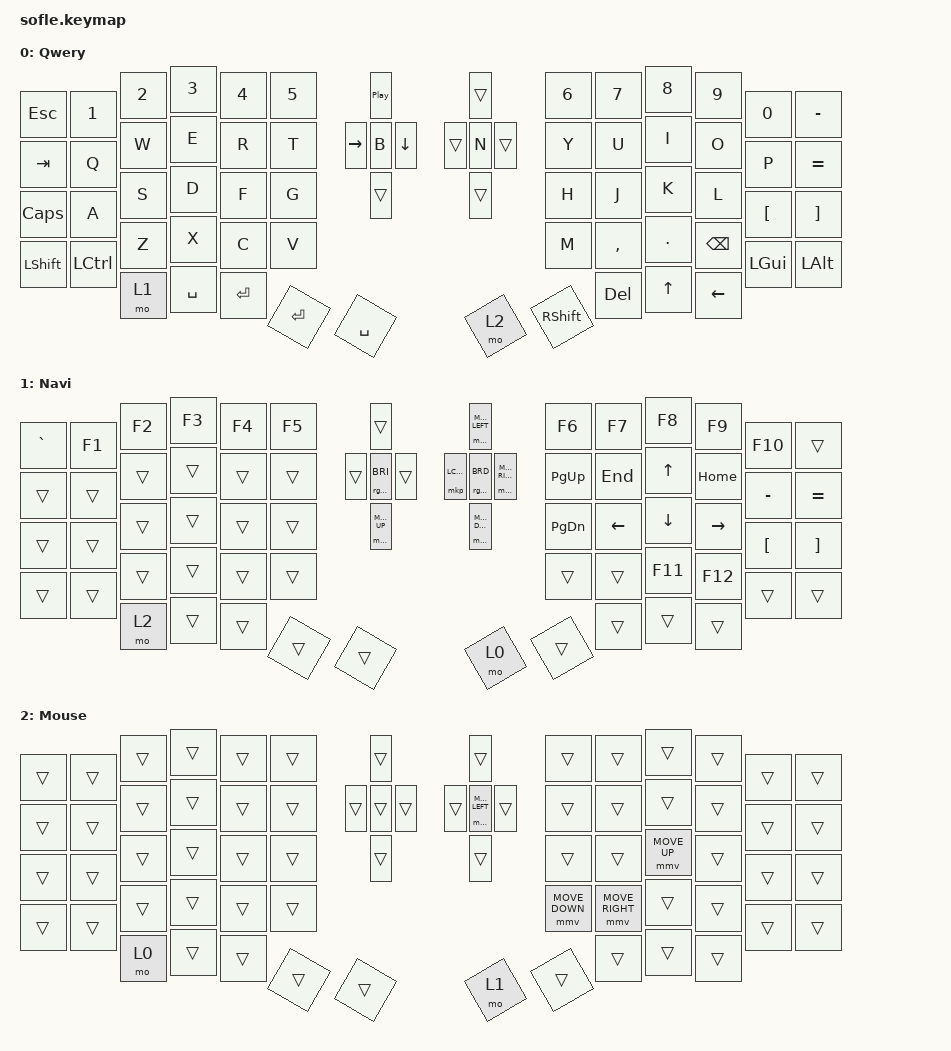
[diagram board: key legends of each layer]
#define ZMK_POINTING_DEFAULT_MOVE_VAL 1200  // 600
#define ZMK_POINTING_DEFAULT_SCRL_VAL 25   // 10

#include <input/processors.dtsi>
#include <zephyr/dt-bindings/input/input-event-codes.h>
#include <behaviors.dtsi>
#include <dt-bindings/zmk/bt.h>
#include <dt-bindings/zmk/ext_power.h>
#include <dt-bindings/zmk/keys.h>
#include <dt-bindings/zmk/pointing.h>
#include <dt-bindings/zmk/rgb.h>

&mmv_input_listener { input-processors = <&zip_xy_scaler 2 1>; };

&msc_input_listener { input-processors = <&zip_scroll_scaler 2 1>; };

&msc {
    acceleration-exponent = <1>;      // 0
    time-to-max-speed-ms = <100>;       // 300
    delay-ms = <0>;                   // 0
};

&mmv {
    time-to-max-speed-ms = <500>;
    acceleration-exponent = <1>;
    trigger-period-ms = <16>;
};

/ {

    keymap {
        compatible = "zmk,keymap";

        Qwery {
            bindings = <
&kp ESCAPE          &kp N1              &kp N2              &kp N3          &kp N4      &kp N5                  &kp NUMBER_6        &kp NUMBER_7    &kp NUMBER_8  &kp NUMBER_9      &kp NUMBER_0    &kp MINUS
&kp TAB             &kp Q               &kp W               &kp E           &kp R       &kp T                   &kp Y               &kp U           &kp I         &kp O             &kp P           &kp EQUAL
&kp CAPSLOCK        &kp A               &kp S               &kp D           &kp F       &kp G                   &kp H               &kp J           &kp K         &kp L             &kp LBKT        &kp RBKT
&kp LSHFT           &kp LCTRL           &kp Z               &kp X           &kp C       &kp V                   &kp B               &kp N           &kp M         &kp COMMA         &kp PERIOD      &kp BACKSPACE
                    &kp LEFT_GUI        &kp LEFT_ALT        &mo 1           &kp SPACE   &kp ENTER               &kp ENTER           &kp SPACE       &mo 2         &kp RSHIFT        &kp DELETE
                    &kp UP_ARROW  &kp LEFT_ARROW   &kp C_PLAY_PAUSE   &kp RIGHT_ARROW   &kp DOWN_ARROW    &trans              &trans              &trans          &trans      &trans
            >;

            display-name = "Qwery";
        };

        Navi {
            bindings = <
&kp GRAVE           &kp F1              &kp F2              &kp F3          &kp F4      &kp F5                  &kp F6              &kp F7          &kp F8         &kp F9           &kp F10             &trans
&trans              &trans              &trans              &trans          &trans      &trans                  &kp PG_UP           &kp END         &kp UP         &kp HOME         &kp MINUS           &kp EQUAL
&trans              &trans              &trans              &trans          &trans      &trans                  &kp PG_DN           &kp LEFT        &kp DOWN       &kp RIGHT        &kp LEFT_BRACKET    &kp RIGHT_BRACKET
&trans              &trans              &trans              &trans          &trans      &trans                  &rgb_ug RGB_BRI     &rgb_ug RGB_BRD &trans         &trans           &kp F11             &kp F12
                    &trans              &trans              &mo 2           &trans      &trans                  &trans              &trans          &mo 0          &trans           &trans
                    &trans              &trans              &trans          &trans      &trans                  &mmv MOVE_UP        &mmv MOVE_LEFT  &mkp LCLK      &mmv MOVE_RIGHT  &mmv MOVE_DOWN
            >;

            display-name = "Navi";
        };

        Mouse {
            bindings = <
&trans              &trans              &trans              &trans          &trans      &trans                  &trans              &trans           &trans          &trans         &trans              &trans 
&trans              &trans              &trans              &trans          &trans      &trans                  &trans              &trans           &trans          &trans         &trans              &trans
&trans              &trans              &trans              &trans          &trans      &trans                  &trans              &trans           &mmv MOVE_UP    &trans         &trans              &trans
&trans              &trans              &trans              &trans          &trans      &trans                  &trans              &mmv MOVE_LEFT   &mmv MOVE_DOWN  &mmv MOVE_RIGHT &trans             &trans
                    &trans              &trans              &mo 0           &trans      &trans                  &trans              &trans           &mo 1           &trans         &trans
                    &trans              &trans              &trans          &trans      &trans                  &trans              &trans           &trans          &trans         &trans
            >;

            display-name = "Mouse";
        };
    };
};
